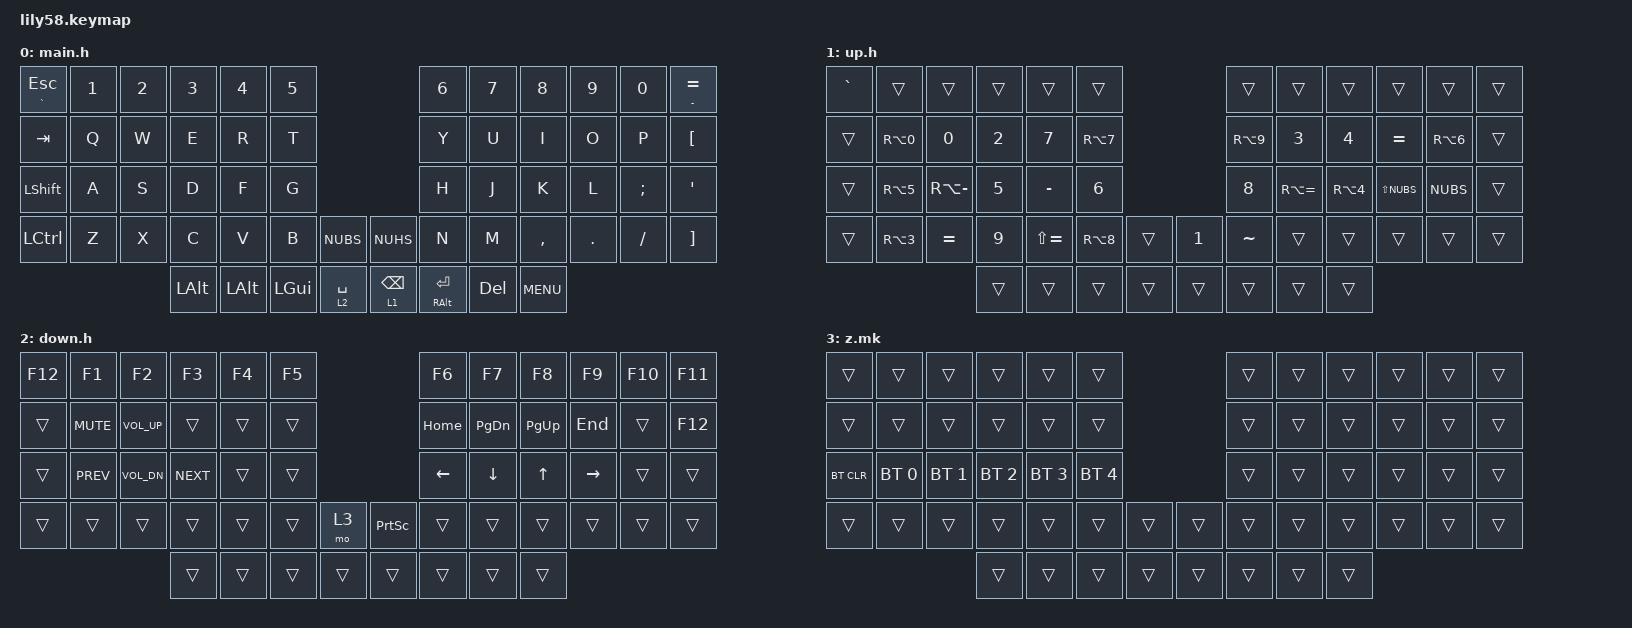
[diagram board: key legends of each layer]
/*
 * Copyright (c) 2020 The ZMK Contributors
 *
 * SPDX-License-Identifier: MIT
 */

#include <behaviors.dtsi>
#include <dt-bindings/zmk/keys.h>
#include <dt-bindings/zmk/bt.h>
#include <dt-bindings/zmk/ext_power.h>

/ {
    keymap {
        compatible = "zmk,keymap";
        default_layer {
            bindings = <
&mt GRAVE ESC  &kp N1  &kp N2  &kp N3    &kp N4    &kp N5                                   &kp N6           &kp N7   &kp N8      &kp N9   &kp N0    &mt MINUS EQUAL
&kp TAB        &kp Q   &kp W   &kp E     &kp R     &kp T                                    &kp Y            &kp U    &kp I       &kp O    &kp P     &kp LBKT
&kp LSHIFT     &kp A   &kp S   &kp D     &kp F     &kp G                                    &kp H            &kp J    &kp K       &kp L    &kp SEMI  &kp SQT
&kp LCTRL      &kp Z   &kp X   &kp C     &kp V     &kp B     &kp NUBS         &kp NUHS      &kp N            &kp M    &kp COMMA   &kp DOT  &kp FSLH  &kp RBKT
                               &kp LALT  &kp LALT  &kp LGUI  &lt 2 SPACE      &lt 1 BSPC    &mt RALT RET     &kp DEL  &kp C_MENU
            >;
            display-name = "main.h";
        };

        mo1 {
            bindings = <
&kp GRAVE  &trans     &trans        &trans        &trans        &trans                             &trans         &trans         &trans        &trans       &trans       &trans
&trans     &kp RA(N0) &kp N0        &kp N2        &kp N7        &kp RA(N7)                         &kp RA(N9)     &kp N3         &kp N4        &kp EQUAL    &kp RA(N6)   &trans
&trans     &kp RA(N5) &kp RA(MINUS) &kp N5        &kp MINUS     &kp N6                             &kp N8         &kp RA(EQUAL)  &kp RA(N4)    &kp LS(NUBS) &kp NUBS     &trans
&trans     &kp RA(N3) &kp EQUAL     &kp N9        &kp LS(EQUAL) &kp RA(N8)     &trans    &kp N1    &kp TILDE      &trans         &trans        &trans       &trans       &trans
                                    &trans        &trans        &trans         &trans    &trans    &trans         &trans         &trans
            >;
            display-name = "up.h";
        };

        mo2 {
            bindings = <
&kp F12    &kp F1      &kp F2        &kp F3      &kp F4   &kp F5                        &kp F6       &kp F7     &kp F8     &kp F9     &kp F10    &kp F11
&trans     &kp C_MUTE  &kp C_VOL_UP  &trans      &trans   &trans                        &kp HOME     &kp PG_DN  &kp PG_UP  &kp END    &trans     &kp F12
&trans     &kp C_PREV  &kp C_VOL_DN  &kp C_NEXT  &trans   &trans                        &kp LEFT     &kp DOWN   &kp UP     &kp RIGHT  &trans     &trans
&trans     &trans      &trans        &trans      &trans   &trans   &mo 3     &kp PSCRN  &trans       &trans     &trans     &trans     &trans     &trans
                                     &trans      &trans   &trans   &trans    &trans     &trans       &trans     &trans
            >;
            display-name = "down.h";
        };

        mo3 {
            bindings = <
&trans     &trans       &trans       &trans       &trans       &trans                       &trans  &trans  &trans  &trans  &trans  &trans
&trans     &trans       &trans       &trans       &trans       &trans                       &trans  &trans  &trans  &trans  &trans  &trans
&bt BT_CLR &bt BT_SEL 0 &bt BT_SEL 1 &bt BT_SEL 2 &bt BT_SEL 3 &bt BT_SEL 4                 &trans  &trans  &trans  &trans  &trans  &trans
&trans     &trans       &trans       &trans       &trans       &trans       &trans  &trans  &trans  &trans  &trans  &trans  &trans  &trans
                        &trans       &trans       &trans       &trans       &trans  &trans  &trans  &trans
            >;
            display-name = "z.mk";
        };
    };
};
